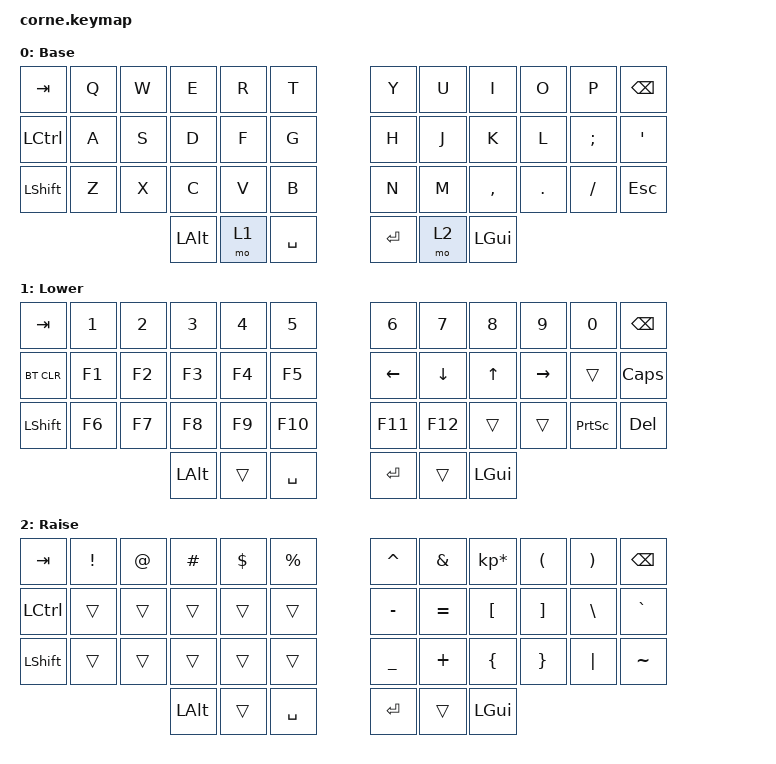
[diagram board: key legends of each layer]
/*
 * Copyright (c) 2020 The ZMK Contributors
 *
 * SPDX-License-Identifier: MIT
 */

#include <behaviors.dtsi>
#include <dt-bindings/zmk/bt.h>
#include <dt-bindings/zmk/keys.h>

/ {
    keymap {
        compatible = "zmk,keymap";

        default_layer {
            // -----------------------------------------------------------------------------------------
            // |  TAB |  Q  |  W  |  E  |  R  |  T  |   |  Y  |  U   |  I  |  O  |  P  | BKSP |
            // | CTRL |  A  |  S  |  D  |  F  |  G  |   |  H  |  J   |  K  |  L  |  ;  |  '   |
            // | SHFT |  Z  |  X  |  C  |  V  |  B  |   |  N  |  M   |  ,  |  .  |  /  | ESC  |
            //                    | GUI | LWR | SPC |   | ENT | RSE  | ALT |

            label = "Base";
            bindings = <
  &kp TAB  &kp Q  &kp W         &kp E  &kp R      &kp T         &kp Y  &kp U         &kp I    &kp O     &kp P  &kp BSPC
&kp LCTRL  &kp A  &kp S         &kp D  &kp F      &kp G         &kp H  &kp J         &kp K    &kp L  &kp SEMI   &kp SQT
&kp LSHFT  &kp Z  &kp X         &kp C  &kp V      &kp B         &kp N  &kp M     &kp COMMA  &kp DOT  &kp FSLH   &kp ESC
                         &kp LEFT_ALT  &mo 1  &kp SPACE    &kp RETURN  &mo 2  &kp LEFT_GUI
            >;
        };

        lower_layer {
            // -----------------------------------------------------------------------------------------
            // |  TAB |  1  |  2  |  3  |  4  |  5  |   |  6  |  7  |  8  |  9  |  0  | BKSP |
            // | BTCLR| BT1 | BT2 | BT3 | BT4 | BT5 |   | LFT | DWN |  UP | RGT |     |      |
            // | SHFT |     |     |     |     |     |   |     |     |     |     |     |      |
            //                    | GUI |     | SPC |   | ENT |     | ALT |

            label = "Lower";
            bindings = <
   &kp TAB  &kp N1  &kp N2    &kp N3  &kp N4     &kp N5        &kp N6    &kp N7        &kp N8     &kp N9           &kp N0  &kp BSPC
&bt BT_CLR  &kp F1  &kp F2    &kp F3  &kp F4     &kp F5      &kp LEFT  &kp DOWN        &kp UP  &kp RIGHT           &trans  &kp CAPS
 &kp LSHFT  &kp F6  &kp F7    &kp F8  &kp F9    &kp F10       &kp F11   &kp F12        &trans     &trans  &kp PRINTSCREEN   &kp DEL
                            &kp LALT  &trans  &kp SPACE    &kp RETURN    &trans  &kp LEFT_GUI
            >;
        };

        raise_layer {
            // -----------------------------------------------------------------------------------------
            // |  TAB |  !  |  @  |  #  |  $  |  %  |   |  ^  |  &  |  *  |  (  |  )  | BKSP |
            // | CTRL |     |     |     |     |     |   |  -  |  =  |  [  |  ]  |  \  |  `   |
            // | SHFT |     |     |     |     |     |   |  _  |  +  |  {  |  }  | "|" |  ~   |
            //                    | GUI |     | SPC |   | ENT |     | ALT |

            label = "Raise";
            bindings = <
  &kp TAB  &kp EXCL  &kp AT  &kp HASH  &kp DLLR  &kp PRCNT     &kp CARET   &kp AMPS  &kp KP_MULTIPLY  &kp LPAR  &kp RPAR   &kp BSPC
&kp LCTRL    &trans  &trans    &trans    &trans     &trans     &kp MINUS  &kp EQUAL         &kp LBKT  &kp RBKT  &kp BSLH  &kp GRAVE
&kp LSHFT    &trans  &trans    &trans    &trans     &trans     &kp UNDER   &kp PLUS         &kp LBRC  &kp RBRC  &kp PIPE  &kp TILDE
                             &kp LALT    &trans  &kp SPACE    &kp RETURN     &trans     &kp LEFT_GUI
            >;
        };
    };
};
